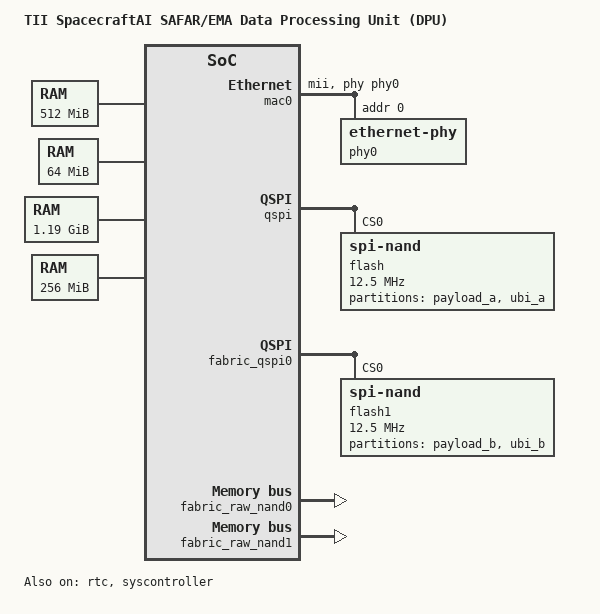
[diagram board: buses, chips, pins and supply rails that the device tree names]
// SPDX-License-Identifier: (GPL-2.0 OR MIT)
/* Copyright (c) 2020-2021 Microchip Technology Inc */

/dts-v1/;

#include "mpfs.dtsi"
#include "scai-dpu-fabric.dtsi"
#include <dt-bindings/gpio/gpio.h>
#include <dt-bindings/leds/common.h>

/* Clock frequency (in Hz) of the rtcclk */
#define RTCCLK_FREQ		1000000

/ {
	#address-cells = <2>;
	#size-cells = <2>;
	model = "TII SpacecraftAI SAFAR/EMA Data Processing Unit (DPU)";
	compatible = "microchip,mpfs-icicle-reference-rtlv2210", "microchip,mpfs-icicle-kit",
		     "microchip,mpfs";

	soc {
		dma-ranges;
	};

	aliases {
		ethernet0 = &mac0;
		serial0 = &mmuart0;
		serial1 = &mmuart1;
		serial2 = &mmuart2;
		serial3 = &mmuart3;
	};

	chosen {
		stdout-path = "serial1:921600n8";
	};

	cpus {
		timebase-frequency = <RTCCLK_FREQ>;
	};

	ddr_cached_low: memory@80000000 {
		device_type = "memory";
		reg = <0x0 0x80000000 0x0 0x20000000>;
	};

	ddr_non_cached_low: memory@c0000000 {
		device_type = "memory";
		reg = <0x0 0xc0000000 0x0 0x04000000>;
	};

	ddr_cached_high: memory@1000000000 {
		device_type = "memory";
		reg = <0x10 0x00000000 0x0 0x4c000000>;
	};

	ddr_non_cached_high: memory@1400000000 {
		device_type = "memory";
		reg = <0x14 0x00000000 0x0 0x10000000>;
	};

	reserved-memory {
		#address-cells = <2>;
		#size-cells = <2>;
		ranges;

		dma_non_cached_low: non-cached-low-buffer {
			compatible = "shared-dma-pool";
			size = <0x0 0x1000000>;
			no-map;
			alloc-ranges = <0x0 0xc3000000 0x0 0x1000000>;
		};

		dma_non_cached_high: non-cached-high-buffer {
			compatible = "shared-dma-pool";
			size = <0x0 0x10000000>;
			no-map;
			linux,dma-default;
			alloc-ranges = <0x14 0x00000000 0x0 0x10000000>;
		};

		shm_uio1: shm@0xc0000000 {
			compatible = "shared-dma-pool";
			reg = <0x0 0xc0000000 0x0 0x800000>;
			no-map;
		};

		shm_uio2: shm@0xc0800000 {
			compatible = "shared-dma-pool";
			reg = <0x0 0xc0800000 0x0 0x800000>;
			no-map;
		};

		shm_uio3: shm@0xc1000000 {
			compatible = "shared-dma-pool";
			reg = <0x0 0xc1000000 0x0 0x800000>;
			no-map;
		};

		shm_uio4: shm@0xc1800000 {
			compatible = "shared-dma-pool";
			reg = <0x0 0xc1800000 0x0 0x800000>;
			no-map;
		};

		hss_buffer: hss-buffer@c2000000 {
			compatible = "shared-dma-pool";
			reg = <0x0 0xc2000000 0x0 0x1000000>;
			no-map;
		};

    /*
		fabricbuf0ddrc: buffer@88000000 {
			compatible = "shared-dma-pool";
			reg = <0x0 0x88000000 0x0 0x2000000>;
			no-map;
		};

		fabricbuf1ddrnc: buffer@c8000000 {
			compatible = "shared-dma-pool";
			reg = <0x0 0xc8000000 0x0 0x2000000>;
			no-map;
		};

		fabricbuf2ddrncwcb: buffer@d8000000 {
			compatible = "shared-dma-pool";
			reg = <0x0 0xd8000000 0x0 0x2000000>;
			no-map;
		};
    */
	};

	uio1 {
		compatible = "generic-uio";
		memory-region = <&shm_uio1>;
		status = "okay";
	};

	uio2 {
		compatible = "generic-uio";
		memory-region = <&shm_uio2>;
		status = "okay";
	};

	uio3 {
		compatible = "generic-uio";
		memory-region = <&shm_uio3>;
		status = "okay";
	};

	uio4 {
		compatible = "generic-uio";
		memory-region = <&shm_uio4>;
		status = "okay";
	};

	scai_tm_rproc@0 {
		compatible = "tii,scai-tm-rproc";
		memory-region = <&hss_buffer>;
		status = "okay";
	};

  /*
	udmabuf0 {
		compatible = "ikwzm,u-dma-buf";
		device-name = "udmabuf-ddr-c0";
		minor-number = <0>;
		size = <0x0 0x2000000>;
		memory-region = <&fabricbuf0ddrc>;
		sync-mode = <3>;
	};

	udmabuf1 {
		compatible = "ikwzm,u-dma-buf";
		device-name = "udmabuf-ddr-nc0";
		minor-number = <1>;
		size = <0x0 0x2000000>;
		memory-region = <&fabricbuf1ddrnc>;
		sync-mode = <3>;
	};

	udmabuf2 {
		compatible = "ikwzm,u-dma-buf";
		device-name = "udmabuf-ddr-nc-wcb0";
		minor-number = <2>;
		size = <0x0 0x2000000>;
		memory-region = <&fabricbuf2ddrncwcb>;
		sync-mode = <3>;
	};
  */
};

/*
 * The label can0 represents CAN_0 in the MSS configurator which is CAN2
 * in the icicle kit schematic and on the icicle kit the can0 pins are
 * routed to J27 header.
 * The label can1 represents CAN_1 in the MSS configurator which is CAN1
 * in the icicle kit schematic and on the icicle kit the can1 pins are
 * routed to J25 header.
 */
/*
&can0 {
	status = "disabled";
};
*/

/*
&can1 {
	status = "disabled";
};
*/

/*
&core_pwm0 {
	status = "disabled";
};
*/

/*
&fpgadma {
	status = "disabled";
};
*/

/*
&fpgalsram {
	status = "disabled";
};
*/

&gpio2 {
	status = "okay";
};

/*
&i2c0 {
	status = "disabled";
};
*/

/*
&i2c1 {
	status = "disabled";

	power-monitor@10 {
		compatible = "microchip,pac1934";
		reg = <0x10>;

		#address-cells = <1>;
		#size-cells = <0>;

		channel@1 {
			reg = <0x1>;
			shunt-resistor-micro-ohms = <10000>;
			label = "VDDREG";
		};

		channel@2 {
			reg = <0x2>;
			shunt-resistor-micro-ohms = <10000>;
			label = "VDDA25";
		};

		channel@3 {
			reg = <0x3>;
			shunt-resistor-micro-ohms = <10000>;
			label = "VDD25";
		};

		channel@4 {
			reg = <0x4>;
			shunt-resistor-micro-ohms = <10000>;
			label = "VDDA_REG";
		};
	};
};
*/

/*
&i2c2 {
	status = "disabled";
};
*/

&mac0 {
	dma-noncoherent;
	status = "okay";
	phy-mode = "mii";
	phy-handle = <&phy0>;

	phy0: ethernet-phy@0 {
		reg = <0>;
	};
};

/*
&mac1 {
	dma-noncoherent;
	status = "disabled";
	phy-mode = "sgmii";
	phy-handle = <&phy9>;

	phy9: ethernet-phy@9 {
		reg = <9>;
	};

	phy8: ethernet-phy@8 {
		reg = <8>;
	};
};
*/


&mbox {
	status = "okay";
};

/*
&mmc {
	dma-noncoherent;
	bus-width = <4>;
	disable-wp;
	cap-sd-highspeed;
	cap-mmc-highspeed;
	mmc-ddr-1_8v;
	mmc-hs200-1_8v;
	sd-uhs-sdr12;
	sd-uhs-sdr25;
	sd-uhs-sdr50;
	sd-uhs-sdr104;
	status = "disabled";
};
*/

&mmuart0 {
	status = "okay";
	current-speed = <921600>;
};

&mmuart1 {
	status = "okay";
	current-speed = <921600>;
};

&mmuart2 {
	status = "okay";
	current-speed = <921600>;
};

&mmuart3 {
	status = "okay";
	current-speed = <921600>;
};

/*
&mmuart4 {
	status = "disabled";
};
*/

/*
&pcie {
	status = "disabled";
};
*/

&qspi {
	status = "okay";
  flash@0 {
    compatible = "spi-nand";
    reg = <0>;
    spi-max-frequency = <12500000>;
    spi-tx-bus-width = <4>;
    spi-rx-bus-width = <4>;

    partitions {
      compatible = "fixed-partitions";
      #address-cells = <1>;
      #size-cells = <1>;

      partition@0 {
        label = "payload_a";
        reg = <0 0x00200000>;
      };
      partition@200000 {
        label = "ubi_a";
        reg = <0x00200000 0x07700000>;
      };
    };
  };
};

&fabric_qspi0 {
	status = "okay";
	num-cs = <1>;

	flash1: flash@1 {
		compatible = "spi-nand";
		reg = <0x0>;
		spi-tx-bus-width = <4>;
		spi-rx-bus-width = <4>;
		spi-max-frequency = <12500000>;

		partitions {
			compatible = "fixed-partitions";
			#address-cells = <1>;
			#size-cells = <1>;

			partition@0 {
				label = "payload_b";
				reg = <0 0x00200000>;
			};
			partition@200000 {
				label = "ubi_b";
				reg = <0x00200000 0x07700000>;
			};
		};
	};
};

&fabric_raw_nand0 {
	status = "okay";
};

&fabric_raw_nand1 {
	status = "okay";
};

&refclk {
	clock-frequency = <100000000>;
};

/*
&refclk_ccc {
	clock-frequency = <50000000>;
};
*/

&rtc {
	status = "okay";
};

/*
&spi0 {
	status = "disabled";
};
*/

/*
&spi1 {
	status = "disabled";
};
*/

&syscontroller {
	status = "okay";
};

//&syscontroller_qspi {
	/*
	 * The flash *is* there, but Icicle kits that have engineering sample
	 * silicon where access to this flash to non-functional. The system
	 * controller itself can actually access it, but the MSS cannot write
	 * an image there. Instantiating a coreQSPI in the fabric & connecting
	 * it to the flash instead should work though. Pre-production or later
	 * silicon does not have this issue.
	 */
//	status = "disabled";

//	sys_ctrl_flash: flash@0 { // MT25QL01GBBB8ESF-0SIT
//		compatible = "jedec,spi-nor";
//		#address-cells = <1>;
//		#size-cells = <1>;
//		spi-max-frequency = <20000000>;
//		spi-rx-bus-width = <1>;
//		reg = <0>;
//	};
//};

/*
&usb {
	dma-noncoherent;
	status = "disabled";
	dr_mode = "otg";
};
*/
